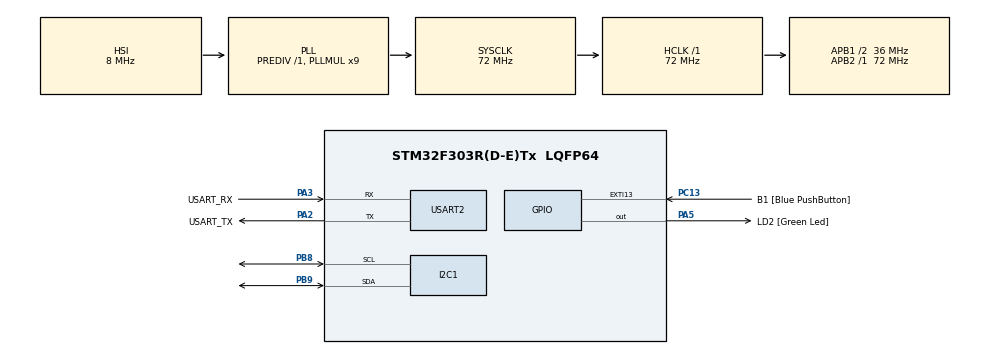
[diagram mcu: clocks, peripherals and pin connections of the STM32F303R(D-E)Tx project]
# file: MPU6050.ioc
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Mcu.Family=STM32F3
Mcu.Name=STM32F303R(D-E)Tx
Mcu.Package=LQFP64
NVIC.PriorityGroup=NVIC_PRIORITYGROUP_0
NVIC.USART2_IRQn=true\:0\:0\:false\:false\:true\:true\:true
PA13.GPIO_Label=TMS
PA13.Mode=Serial_Wire
PA13.Signal=SYS_JTMS-SWDIO
PA14.GPIO_Label=TCK
PA14.Mode=Serial_Wire
PA14.Signal=SYS_JTCK-SWCLK
PA2.GPIO_Label=USART_TX
PA2.GPIO_Mode=GPIO_MODE_AF_PP
PA2.GPIO_PuPd=GPIO_NOPULL
PA2.GPIO_Speed=GPIO_SPEED_FREQ_LOW
PA2.Mode=Asynchronous
PA2.Signal=USART2_TX
PA3.GPIO_Label=USART_RX
PA3.GPIO_Mode=GPIO_MODE_AF_PP
PA3.GPIO_PuPd=GPIO_NOPULL
PA3.GPIO_Speed=GPIO_SPEED_FREQ_LOW
PA3.Mode=Asynchronous
PA3.Signal=USART2_RX
PA5.GPIO_Label=LD2 [Green Led]
PA5.GPIO_Mode=GPIO_MODE_OUTPUT_PP
PA5.GPIO_PuPd=GPIO_NOPULL
PA5.GPIO_Speed=GPIO_SPEED_FREQ_LOW
PA5.Signal=GPIO_Output
PB3.GPIO_Label=SWO
PB3.Signal=SYS_JTDO-TRACESWO
PB8.GPIO_PuPdOD=GPIO_NOPULL
PB8.Mode=I2C
PB8.Signal=I2C1_SCL
PB9.GPIO_PuPdOD=GPIO_NOPULL
PB9.Mode=I2C
PB9.Signal=I2C1_SDA
PC13.GPIO_Label=B1 [Blue PushButton]
PC13.GPIO_ModeDefaultEXTI=GPIO_MODE_IT_FALLING
PC13.Signal=GPXTI13
PC14-OSC32_IN.Mode=LSE-External-Oscillator
PC14-OSC32_IN.Signal=RCC_OSC32_IN
PC15-OSC32_OUT.Mode=LSE-External-Oscillator
PC15-OSC32_OUT.Signal=RCC_OSC32_OUT
PF0-OSC_IN.Signal=RCC_OSC_IN
PF1-OSC_OUT.Signal=RCC_OSC_OUT
ProjectManager.HeapSize=0x200
ProjectManager.StackSize=0x400
ProjectManager.TargetToolchain=MDK-ARM V5.27
RCC.AHBFreq_Value=72000000
RCC.APB1CLKDivider=RCC_HCLK_DIV2
RCC.APB1Freq_Value=36000000
RCC.APB1TimFreq_Value=72000000
RCC.APB2Freq_Value=72000000
RCC.APB2TimFreq_Value=72000000
RCC.CortexFreq_Value=72000000
RCC.HCLKFreq_Value=72000000
RCC.HSE_VALUE=8000000
RCC.HSI_VALUE=8000000
RCC.PLLM=8
RCC.PLLMUL=RCC_PLL_MUL9
RCC.PLLN=336
RCC.PLLP=RCC_PLLP_DIV4
RCC.PLLQ=7
RCC.RCC_PLLsource_Clock_Source_FROM_HSE=RCC_HSE_PREDIV_DIV2
RCC.SYSCLKFreq_VALUE=72000000
RCC.SYSCLKSourceVirtual=RCC_SYSCLKSOURCE_PLLCLK
RCC.USBFreq_Value=72000000
USART2.VirtualMode-Asynchronous=VM_ASYNC
board=NUCLEO-F303RE

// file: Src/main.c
/* USER CODE BEGIN Header */
/**
  ******************************************************************************
  * @file           : main.c
  * @brief          : Main program body
  ******************************************************************************
  * @attention
  *
  * <h2><center>&copy; Copyright (c) 2020 STMicroelectronics.
  * All rights reserved.</center></h2>
  *
  * This software component is licensed by ST under BSD 3-Clause license,
  * the "License"; You may not use this file except in compliance with the
  * License. You may obtain a copy of the License at:
  *                        opensource.org/licenses/BSD-3-Clause
  *
  ******************************************************************************
  */
/* USER CODE END Header */

#include "main.h"
#include "i2c.h"
#include "usart.h"
#include "gpio.h"

/* USER CODE BEGIN Includes */
	 #include "MPU6050.h"
	 #include <stdio.h>
/* USER CODE END Includes */

/* USER CODE BEGIN PV */
	 uint8_t buffer[2];
	 HAL_StatusTypeDef Status;
	 uint16_t size;
	 uint8_t Data[64];
	 // rotation angle of the sensor
	 unsigned long last_read_time;
	 float         last_gyro_x_angle;  // Store the gyro angles to compare drift
	 float         last_gyro_y_angle;
	 float         last_gyro_z_angle;
	 unsigned long t_now;
	 float dt = 0;
	 float gyro_angle_x;
	 float gyro_angle_y;
	 float gyro_angle_z;
	 float accel_vel_x;
	 float accel_vel_y;
	 float accel_vel_z;
	 float last_accel_vel_x;
	 float last_accel_vel_y;
	 float last_accel_vel_z;
	 float accel_pos_x;
	 float accel_pos_y;
	 float accel_pos_z;
	 float last_accel_pos_x;
	 float last_accel_pos_y;
	 float last_accel_pos_z;
	 float Accel_samples_x[20];
	 uint8_t sample_count = 0;
	 uint8_t prumer;

void set_last_read_angle_data(unsigned long time, float x_vel, float y_vel, float z_vel, float x_pos, float y_pos, float z_pos, float x_gyro, float y_gyro, float z_gyro) {
   last_read_time = time;
	 last_accel_vel_x = x_vel;
	 last_accel_vel_y = y_vel;
	 last_accel_vel_z = z_vel;
	 last_accel_pos_x = x_pos;
	 last_accel_pos_y = y_pos;
	 last_accel_pos_z = z_pos;
   last_gyro_x_angle = x_gyro;
   last_gyro_y_angle = y_gyro;
   last_gyro_z_angle = z_gyro;
}

/* USER CODE END PV */

	 void SystemClock_Config(void);

/* USER CODE BEGIN 0 */
	 RawData_Def myAccelRaw, myGyroRaw;
 	 ScaledData_Def myAccelScaled, myGyroScaled;
/* USER CODE END 0 */

int main(void)
{
  /* USER CODE BEGIN 1 */
	MPU_ConfigTypeDef myMpuConfig;
  /* USER CODE END 1 */

  /* MCU Configuration--------------------------------------------------------*/

  /* Reset of all peripherals, Initializes the Flash interface and the Systick. */
  HAL_Init();

  /* Configure the system clock */
  SystemClock_Config();

  /* Initialize all configured peripherals */
  MX_GPIO_Init();
  MX_I2C1_Init();
  MX_USART2_UART_Init();
  /* USER CODE BEGIN 2 */
	Status = HAL_I2C_IsDeviceReady(&hi2c1, MPU_ADDR<<1, 10, 100);               //Kontrola komunikace STM s MPU
	HAL_UART_Transmit(&huart2, (uint8_t *)"MPU6050 is ready\r\n", 18, 100);     //"potvrzeni" ze UART jede - v Term. se obj. pouze pokud je nejd. zap. Term. a pot. STM
	MPU6050_Init(&hi2c1);

	//2. Configure Accel and Gyro parameters
	myMpuConfig.Accel_Full_Scale = AFS_SEL_16g;      //nastaveni citlivosti Accel na 4g
	myMpuConfig.ClockSource = Internal_8MHz;        //zdroj hodin interni - 8MHz
	myMpuConfig.CONFIG_DLPF = DLPF_184A_188G_Hz;    //Filtr
	myMpuConfig.Gyro_Full_Scale = FS_SEL_2000;       //Nastaveni citlivosti Gyro na 500
	myMpuConfig.Sleep_Mode_Bit = 0;                 //1: sleep mode, 0: normal mode
	MPU6050_Config(&myMpuConfig);
	set_last_read_angle_data(0, 0, 0, 0, 0, 0, 0, 0, 0, 0);
	gyro_angle_x = 0;
	gyro_angle_y = 0;
	gyro_angle_z = 0;
	last_gyro_x_angle = 0;
	last_gyro_y_angle = 0;
	last_gyro_z_angle = 0;
//	accel_vel_x = 0;
//	accel_vel_y = 0;
//	accel_vel_z = 0;
//	accel_pos_x = 0;
//	accel_pos_y = 0;
//	accel_pos_z = 0;
//	last_accel_vel_x = 0;
//	last_accel_vel_y = 0;
//	last_accel_vel_z = 0;
//	last_accel_pos_x = 0;
//	last_accel_pos_y = 0;
//	last_accel_pos_z = 0;
//	prumer = 0;
  /* USER CODE END 2 */

  /* Infinite loop */
  /* USER CODE BEGIN WHILE */
	MPU6050_Cali();
  while (1)
  {
		HAL_Delay(2);
		Prumer_hodnot();
		Cali_Podminky();

		dt =(t_now -  last_read_time)/1000.0; //delн se kvuli "prechodu" na mikro sec.

		gyro_angle_x = gyro_angle_x + (((gyrox + last_gyro_x_angle)*dt)/2);
    gyro_angle_y = gyro_angle_y + (((gyroy+ last_gyro_y_angle)*dt)/2);
		gyro_angle_z = gyro_angle_z + (((gyroz + last_gyro_z_angle)*dt)/2);

//		Accel_samples_x [sample_count]= accelerationx;
//		sample_count = (sample_count+1)%count;
//
//		for (uint16_t i = 0; i <count; i++)
//		{
//			prumer = prumer + Accel_samples_x [sample_count];
//		}
//
//		prumer = prumer / count;
//		//if (prumer == 0)
//			//accel_vel_x = 0;
//

//		accel_vel_x = accel_vel_x + (((accelerationx + last_accel_vel_x)*dt)/2);
//		if (accel_vel_x !=0)
//		accel_pos_x = accel_pos_x + (((accel_vel_x + last_accel_pos_x)*dt)/2);
//
//		accel_vel_y = accel_vel_y + (((accelerationy + last_accel_vel_y)*dt)/2);
//		if (accel_vel_y !=0)
//		accel_pos_y = accel_pos_y + (((accel_vel_y + last_accel_pos_y)*dt)/2);
//
//		accel_vel_z = accel_vel_z + (((accelerationz + last_accel_vel_z)*dt)/2);
//		if (accel_vel_z !=0)
//		accel_pos_z = accel_pos_z + (((accel_vel_z + last_accel_pos_z)*dt)/2);

		set_last_read_angle_data(t_now, accelerationx, accelerationy, accelerationz, accel_vel_x, accel_vel_y, accel_vel_z, gyrox, gyroy, gyroz);

		size = sprintf((char *)Data,"Data:%.2f:%.2f:%.2f\r\n", gyro_angle_x, gyro_angle_y, gyro_angle_z);

		HAL_UART_Transmit(&huart2, Data, size, 100);
		HAL_GPIO_TogglePin(GPIOA, GPIO_PIN_5);
		//HAL_Delay(10);
    /* USER CODE END WHILE */

  }
}

void SystemClock_Config(void)
{
  RCC_OscInitTypeDef RCC_OscInitStruct = {0};
  RCC_ClkInitTypeDef RCC_ClkInitStruct = {0};
  RCC_PeriphCLKInitTypeDef PeriphClkInit = {0};

  /** Initializes the CPU, AHB and APB busses clocks
  */
  RCC_OscInitStruct.OscillatorType = RCC_OSCILLATORTYPE_HSI;
  RCC_OscInitStruct.HSIState = RCC_HSI_ON;
  RCC_OscInitStruct.HSICalibrationValue = RCC_HSICALIBRATION_DEFAULT;
  RCC_OscInitStruct.PLL.PLLState = RCC_PLL_ON;
  RCC_OscInitStruct.PLL.PLLSource = RCC_PLLSOURCE_HSI;
  RCC_OscInitStruct.PLL.PLLMUL = RCC_PLL_MUL9;
  RCC_OscInitStruct.PLL.PREDIV = RCC_PREDIV_DIV1;
  if (HAL_RCC_OscConfig(&RCC_OscInitStruct) != HAL_OK)
  {
    Error_Handler();
  }
  /** Initializes the CPU, AHB and APB busses clocks
  */
  RCC_ClkInitStruct.ClockType = RCC_CLOCKTYPE_HCLK|RCC_CLOCKTYPE_SYSCLK
                              |RCC_CLOCKTYPE_PCLK1|RCC_CLOCKTYPE_PCLK2;
  RCC_ClkInitStruct.SYSCLKSource = RCC_SYSCLKSOURCE_PLLCLK;
  RCC_ClkInitStruct.AHBCLKDivider = RCC_SYSCLK_DIV1;
  RCC_ClkInitStruct.APB1CLKDivider = RCC_HCLK_DIV2;
  RCC_ClkInitStruct.APB2CLKDivider = RCC_HCLK_DIV1;

  if (HAL_RCC_ClockConfig(&RCC_ClkInitStruct, FLASH_LATENCY_2) != HAL_OK)
  {
    Error_Handler();
  }
  PeriphClkInit.PeriphClockSelection = RCC_PERIPHCLK_USART2|RCC_PERIPHCLK_I2C1;
  PeriphClkInit.Usart2ClockSelection = RCC_USART2CLKSOURCE_PCLK1;
  PeriphClkInit.I2c1ClockSelection = RCC_I2C1CLKSOURCE_HSI;
  if (HAL_RCCEx_PeriphCLKConfig(&PeriphClkInit) != HAL_OK)
  {
    Error_Handler();
  }
}

void Error_Handler(void)
{
}

/************************ (C) COPYRIGHT STMicroelectronics *****END OF FILE****/
